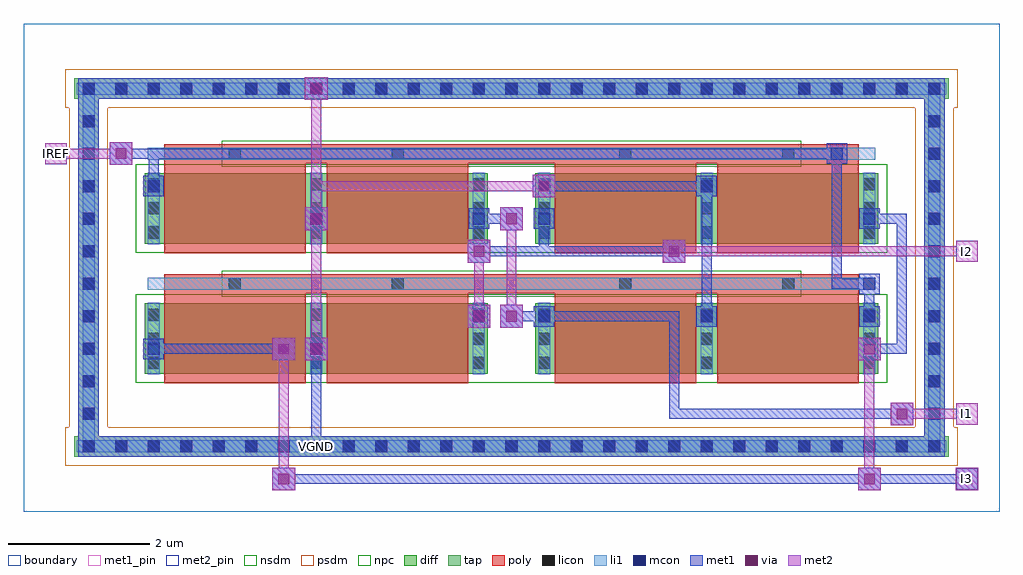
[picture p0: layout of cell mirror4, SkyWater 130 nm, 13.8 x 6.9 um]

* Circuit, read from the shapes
.subckt mirror4 I1 I2 I3 IREF VGND
XM1 VGND IREF I3 VGND sky130_fd_pr__nfet_01v8 w=1 l=2 m=2
XM2 VGND IREF IREF VGND sky130_fd_pr__nfet_01v8 w=1 l=2 m=2
XM3 I2 IREF VGND VGND sky130_fd_pr__nfet_01v8 w=1 l=2 m=2
XM4 I1 IREF VGND VGND sky130_fd_pr__nfet_01v8 w=1 l=2 m=2
.ends

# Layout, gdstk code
import gdstk
lib = gdstk.Library(unit=1e-6, precision=1e-09)
def R(c, l, rs):  # rectangles x0, y0, x1, y1
    for r in rs: c.add(gdstk.rectangle(r[:2], r[2:], *l))
def A(c, l, x, y, w, h, nx, ny, dx, dy):  # array of equal rectangles
    R(c, l, [(x+i*dx, y+j*dy, x+i*dx+w, y+j*dy+h) for i in range(nx) for j in range(ny)])
diff = (65, 20)
tap = (65, 44)
poly = (66, 20)
licon = (66, 44)
li1 = (67, 20)
mcon = (67, 44)
met1_pin = (68, 16)
met1 = (68, 20)
via = (68, 44)
met2_pin = (69, 16)
met2 = (69, 20)
nsdm = (93, 44)
psdm = (94, 20)
npc = (95, 20)
boundary = (235, 4)

mirror4 = lib.new_cell('mirror4')
R(mirror4, diff, [(1.715,1.945,6.565,2.945), (7.235,1.945,12.085,2.945), (1.715,3.785,6.565,4.785), (7.235,3.785,12.085,4.785)])
R(mirror4, tap, [(0.715,0.775,13.085,1.065), (0.775,0.775,1.065,6.125), (12.735,0.775,13.025,6.125), (0.715,5.835,13.085,6.125)])
R(mirror4, poly, [(1.99,1.815,3.99,3.22), (4.29,1.815,6.29,3.22), (7.51,1.815,9.51,3.22), (9.81,1.815,11.81,3.22), (1.99,3.085,11.81,3.355), (1.99,3.655,3.99,5.06), (4.29,3.655,6.29,5.06), (7.51,3.655,9.51,5.06), (9.81,3.655,11.81,5.06), (1.99,4.925,11.81,5.195)])
A(mirror4, licon, 0.835, 0.835, 0.17, 0.17, 27, 2, 0.46, 5.06)
A(mirror4, licon, 0.835, 1.295, 0.17, 0.17, 1, 10, 0, 0.46)
A(mirror4, licon, 12.795, 1.295, 0.17, 0.17, 1, 10, 0, 0.46)
A(mirror4, licon, 1.755, 2.02, 0.17, 0.17, 3, 3, 2.3, 0.34)
A(mirror4, licon, 7.275, 2.02, 0.17, 0.17, 3, 3, 2.3, 0.34)
A(mirror4, licon, 1.755, 3.86, 0.17, 0.17, 3, 3, 2.3, 0.34)
A(mirror4, licon, 7.275, 3.86, 0.17, 0.17, 3, 3, 2.3, 0.34)
R(mirror4, licon, [(2.905,3.135,3.075,3.305), (5.205,3.135,5.375,3.305), (8.425,3.135,8.595,3.305), (10.725,3.135,10.895,3.305), (2.905,4.975,3.075,5.145), (5.205,4.975,5.375,5.145), (8.425,4.975,8.595,5.145), (10.725,4.975,10.895,5.145)])
A(mirror4, li1, 1.755, 1.94, 0.17, 1.01, 3, 2, 2.3, 1.84)
A(mirror4, li1, 7.275, 1.94, 0.17, 1.01, 3, 2, 2.3, 1.84)
R(mirror4, li1, [(0.755,0.835,13.045,1.005), (0.835,0.835,1.005,6.065), (12.795,0.835,12.965,6.065), (1.755,3.135,12.045,3.305), (1.755,4.975,12.045,5.145), (0.755,5.895,13.045,6.065)])
A(mirror4, mcon, 0.835, 0.835, 0.17, 0.17, 27, 2, 0.46, 5.06)
A(mirror4, mcon, 0.835, 1.295, 0.17, 0.17, 1, 10, 0, 0.46)
A(mirror4, mcon, 12.795, 1.295, 0.17, 0.17, 1, 10, 0, 0.46)
A(mirror4, mcon, 7.275, 2.675, 0.17, 0.17, 3, 1, 2.3, 0)
R(mirror4, mcon, [(1.755,2.215,1.925,2.385), (4.055,2.215,4.225,2.385), (6.355,2.675,6.525,2.845), (11.875,3.135,12.045,3.305), (4.055,4.055,4.225,4.225), (6.355,4.055,6.525,4.225), (7.275,4.055,7.445,4.225), (11.875,4.055,12.045,4.225), (1.755,4.515,1.925,4.685), (9.575,4.515,9.745,4.685), (11.415,4.975,11.585,5.145)])
R(mirror4, met1_pin, [(4.07,0.85,4.21,0.99)])
A(mirror4, met1, 3.98, 2.14, 0.32, 0.32, 1, 3, 0, 1.84)
A(mirror4, met1, 7.215, 2.615, 0.29, 0.29, 3, 1, 2.3, 0)
R(mirror4, met1, [(3.52,0.3,3.84,0.62), (11.8,0.3,12.12,0.62), (13.18,0.3,13.5,0.62), (3.61,0.39,13.41,0.53), (0.775,0.775,13.025,1.065), (0.775,0.775,1.065,6.125), (12.735,0.775,13.025,6.125), (4.07,0.85,4.21,2.37), (4.07,0.85,4.21,0.99), (12.26,1.22,12.58,1.54), (9.13,1.31,9.27,2.83), (9.13,1.31,12.49,1.45), (3.52,2.14,3.84,2.46), (11.8,2.14,12.12,2.46), (1.695,2.155,1.985,2.445), (3.995,2.155,4.285,2.445), (1.77,2.23,3.75,2.37), (11.89,2.23,12.49,2.37), (12.35,2.23,12.49,4.21), (6.28,2.6,6.6,2.92), (6.74,2.6,7.06,2.92), (6.295,2.615,6.585,2.905), (6.83,2.69,7.43,2.83), (7.29,2.69,9.27,2.83), (9.59,2.69,9.73,4.67), (11.89,2.69,12.03,3.29), (11.815,3.075,12.105,3.365), (11.43,3.15,12.03,3.29), (11.43,3.15,11.57,5.13), (6.28,3.52,6.6,3.84), (9.04,3.52,9.36,3.84), (6.37,3.61,7.43,3.75), (7.29,3.61,7.43,4.21), (7.29,3.61,9.27,3.75), (6.74,3.98,7.06,4.3), (3.995,3.995,4.285,4.285), (6.295,3.995,6.585,4.285), (7.215,3.995,7.505,4.285), (11.815,3.995,12.105,4.285), (6.37,4.07,6.97,4.21), (11.89,4.07,12.49,4.21), (7.2,4.44,7.52,4.76), (1.695,4.455,1.985,4.745), (9.515,4.455,9.805,4.745), (1.77,4.53,1.91,5.13), (7.29,4.53,9.73,4.67), (1.22,4.9,1.54,5.22), (11.355,4.915,11.645,5.205), (1.31,4.99,1.91,5.13), (1.77,4.99,11.57,5.13), (0.775,5.835,13.025,6.125), (4.07,5.91,4.21,6.05)])
A(mirror4, via, 4.065, 2.225, 0.15, 0.15, 1, 3, 0, 1.84)
R(mirror4, via, [(3.605,0.385,3.755,0.535), (11.885,0.385,12.035,0.535), (13.265,0.385,13.415,0.535), (12.345,1.305,12.495,1.455), (3.605,2.225,3.755,2.375), (11.885,2.225,12.035,2.375), (6.365,2.685,6.515,2.835), (6.825,2.685,6.975,2.835), (6.365,3.605,6.515,3.755), (9.125,3.605,9.275,3.755), (6.825,4.065,6.975,4.215), (7.285,4.525,7.435,4.675), (1.305,4.985,1.455,5.135)])
R(mirror4, met2_pin, [(13.19,0.31,13.49,0.61), (13.19,1.23,13.49,1.53), (13.19,3.53,13.49,3.83), (0.31,4.91,0.61,5.21)])
A(mirror4, met2, 3.98, 2.14, 0.32, 0.32, 1, 3, 0, 1.84)
R(mirror4, met2, [(3.52,0.3,3.84,0.62), (11.8,0.3,12.12,0.62), (13.18,0.3,13.5,0.62), (13.19,0.31,13.49,0.61), (3.61,0.39,3.75,2.37), (11.89,0.39,12.03,2.37), (13.27,0.39,13.41,0.53), (12.26,1.22,12.58,1.54), (13.19,1.23,13.49,1.53), (12.35,1.31,13.41,1.45), (13.27,1.31,13.41,1.45), (3.52,2.14,3.84,2.46), (11.8,2.14,12.12,2.46), (4.07,2.23,4.21,4.21), (6.28,2.6,6.6,2.92), (6.74,2.6,7.06,2.92), (6.37,2.69,6.51,3.75), (6.83,2.69,6.97,4.21), (6.28,3.52,6.6,3.84), (9.04,3.52,9.36,3.84), (13.19,3.53,13.49,3.83), (9.13,3.61,13.41,3.75), (13.27,3.61,13.41,3.75), (6.74,3.98,7.06,4.3), (4.07,4.07,4.21,6.05), (7.2,4.44,7.52,4.76), (4.07,4.53,7.43,4.67), (1.22,4.9,1.54,5.22), (0.31,4.91,0.61,5.21), (0.39,4.99,0.53,5.13), (0.39,4.99,1.45,5.13)])
R(mirror4, nsdm, [(1.59,1.82,12.21,3.07), (1.59,3.66,12.21,4.91)])
R(mirror4, psdm, [(0.59,0.65,13.21,1.19), (0.65,1.19,1.19,5.71), (12.61,1.19,13.15,5.71), (0.59,5.71,13.21,6.25)])
R(mirror4, npc, [(2.805,3.035,10.995,3.405), (2.805,4.875,10.995,5.245)])
R(mirror4, boundary, [(0,0,13.8,6.9)])
mirror4.add(gdstk.Label('VGND', (4.14,0.92), layer=68, texttype=5))
mirror4.add(gdstk.Label('IREF', (0.46,5.06), layer=69, texttype=5))
mirror4.add(gdstk.Label('I1', (13.34,1.38), layer=69, texttype=5))
mirror4.add(gdstk.Label('I2', (13.34,3.68), layer=69, texttype=5))
mirror4.add(gdstk.Label('I3', (13.34,0.46), layer=69, texttype=5))
mirror4.add(gdstk.Label('VGND', (4.14,0.92), layer=68, texttype=16))
mirror4.add(gdstk.Label('IREF', (0.46,5.06), layer=69, texttype=16))
mirror4.add(gdstk.Label('I1', (13.34,1.38), layer=69, texttype=16))
mirror4.add(gdstk.Label('I2', (13.34,3.68), layer=69, texttype=16))
mirror4.add(gdstk.Label('I3', (13.34,0.46), layer=69, texttype=16))

lib.write_gds('mirror4.gds')
